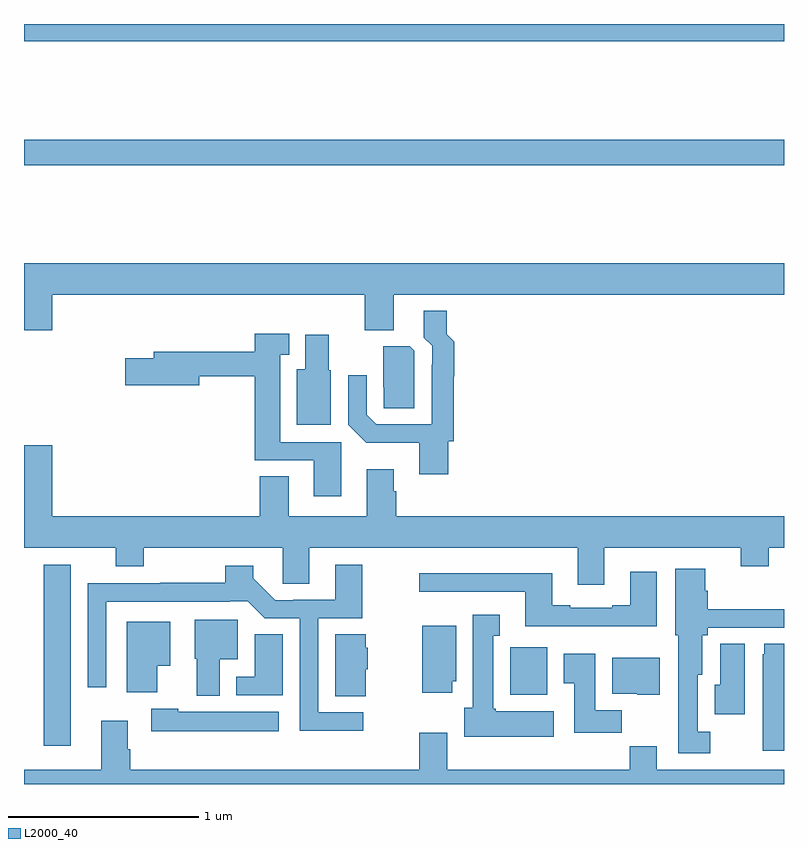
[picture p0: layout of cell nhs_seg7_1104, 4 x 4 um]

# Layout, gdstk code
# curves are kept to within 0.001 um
import gdstk
lib = gdstk.Library(unit=1e-6, precision=1e-09)
def R(c, l, rs):  # rectangles x0, y0, x1, y1
    for r in rs: c.add(gdstk.rectangle(r[:2], r[2:], *l))
def P(c, l, *ps):  # polygons
    for p in ps: c.add(gdstk.Polygon(p, *l))
L2000_40 = (2000, 40)

nhs_seg7_1104 = lib.new_cell('nhs_seg7_1104')
R(nhs_seg7_1104, L2000_40, [(189.104,1038.201,189.247,1039.153), (191.559,1038.47,191.755,1038.72), (189,1041.256,193,1041.392), (189,1041.908,193,1042)])
P(nhs_seg7_1104, L2000_40, [(189.148,1040.576),(190.793,1040.576),(190.793,1040.389),(190.945,1040.389),(190.945,1040.576),(193,1040.576),(193,1040.74),(189,1040.74),(189,1040.388),(189.148,1040.388)],
  [(191.234,1039.803),(191.261,1039.803),(191.261,1040.146),(191.264,1040.146),(191.264,1040.328),(191.225,1040.367),(191.225,1040.491),(191.105,1040.491),(191.105,1040.35),(191.148,1040.307),(191.148,1040.207),(191.145,1040.207),(191.145,1039.893),(190.854,1039.893),(190.803,1039.944),(190.803,1040.152),(190.707,1040.152),(190.707,1039.89),(190.801,1039.796),(191.081,1039.796),(191.081,1039.629),(191.234,1039.629)],
  [(190.669,1039.8),(190.348,1039.8),(190.348,1040.259),(190.396,1040.259),(190.396,1040.369),(190.214,1040.369),(190.214,1040.275),(189.683,1040.275),(189.683,1040.241),(189.534,1040.241),(189.534,1040.099),(189.922,1040.099),(189.922,1040.146),(190.214,1040.146),(190.214,1039.704),(190.526,1039.704),(190.526,1039.515),(190.669,1039.515)],
  [(190.615,1040.178),(190.603,1040.178),(190.603,1040.365),(190.481,1040.365),(190.481,1040.182),(190.436,1040.182),(190.436,1039.892),(190.615,1039.892)],
  [(191.055,1040.28),(191.031,1040.304),(190.892,1040.304),(190.892,1040.089),(190.893,1040.089),(190.893,1039.978),(191.055,1039.978)],
  [(192.055,1039.244),(192.773,1039.244),(192.773,1039.145),(192.921,1039.145),(192.921,1039.244),(193,1039.244),(193,1039.408),(190.958,1039.408),(190.958,1039.541),(190.945,1039.541),(190.945,1039.657),(190.805,1039.657),(190.805,1039.408),(190.393,1039.408),(190.393,1039.619),(190.241,1039.619),(190.241,1039.408),(189.148,1039.408),(189.148,1039.783),(189,1039.783),(189,1039.244),(189.482,1039.244),(189.482,1039.145),(189.63,1039.145),(189.63,1039.244),(190.362,1039.244),(190.362,1039.054),(190.501,1039.054),(190.501,1039.244),(191.915,1039.244),(191.915,1039.05),(192.055,1039.05)],
  [(190.786,1038.378),(190.548,1038.378),(190.548,1038.873),(190.78,1038.873),(190.78,1039.153),(190.637,1039.153),(190.637,1038.969),(190.417,1038.969),(190.417,1038.966),(190.323,1038.966),(190.207,1039.082),(190.207,1039.15),(190.06,1039.15),(190.06,1039.058),(189.718,1039.058),(189.718,1039.056),(189.336,1039.056),(189.336,1038.51),(189.432,1038.51),(189.433,1038.96),(190.082,1038.96),(190.082,1038.963),(190.178,1038.963),(190.268,1038.873),(190.452,1038.873),(190.452,1038.281),(190.786,1038.281)],
  [(192.613,1038.274),(192.547,1038.274),(192.547,1038.576),(192.571,1038.576),(192.571,1038.783),(192.598,1038.783),(192.598,1038.822),(193,1038.822),(193,1038.921),(192.599,1038.921),(192.599,1039.017),(192.586,1039.017),(192.586,1039.132),(192.428,1039.132),(192.428,1038.783),(192.443,1038.783),(192.443,1038.161),(192.613,1038.161)],
  [(192.331,1039.117),(192.191,1039.117),(192.191,1038.94),(192.095,1038.94),(192.095,1038.927),(191.875,1038.927),(191.875,1038.94),(191.779,1038.94),(191.779,1039.108),(191.079,1039.108),(191.079,1039.011),(191.639,1039.011),(191.639,1038.83),(192.331,1038.83)],
  [(191.788,1038.382),(191.484,1038.382),(191.484,1038.396),(191.47,1038.396),(191.47,1038.779),(191.503,1038.779),(191.503,1038.892),(191.363,1038.892),(191.363,1038.402),(191.318,1038.402),(191.318,1038.248),(191.788,1038.248)],
  [(190.03,1038.656),(190.126,1038.656),(190.126,1038.865),(189.899,1038.865),(189.899,1038.66),(189.908,1038.66),(189.908,1038.464),(190.03,1038.464)],
  [(189.7,1038.623),(189.769,1038.623),(189.769,1038.853),(189.542,1038.853),(189.542,1038.482),(189.7,1038.482)],
  [(191.254,1038.54),(191.275,1038.54),(191.275,1038.832),(191.096,1038.832),(191.096,1038.48),(191.254,1038.48)],
  [(190.798,1038.603),(190.81,1038.603),(190.81,1038.717),(190.798,1038.717),(190.798,1038.788),(190.637,1038.788),(190.637,1038.463),(190.798,1038.463)],
  [(190.363,1038.788),(190.214,1038.788),(190.214,1038.564),(190.116,1038.564),(190.116,1038.468),(190.363,1038.468)],
  [(193,1038.737),(192.896,1038.737),(192.896,1038.684),(192.887,1038.684),(192.887,1038.174),(193,1038.174)],
  [(192.793,1038.737),(192.665,1038.737),(192.665,1038.522),(192.635,1038.522),(192.635,1038.366),(192.793,1038.366)],
  [(192.146,1038.388),(192.007,1038.388),(192.007,1038.685),(191.84,1038.685),(191.84,1038.529),(191.897,1038.529),(191.897,1038.27),(192.146,1038.27)],
  [(192.346,1038.664),(192.095,1038.664),(192.095,1038.476),(192.228,1038.476),(192.228,1038.47),(192.346,1038.47)],
  [(190.342,1038.379),(189.813,1038.379),(189.813,1038.397),(189.669,1038.397),(189.669,1038.278),(190.342,1038.278)],
  [(193,1038.076),(192.331,1038.076),(192.331,1038.2),(192.187,1038.2),(192.187,1038.076),(191.227,1038.076),(191.227,1038.271),(191.08,1038.271),(191.08,1038.076),(189.56,1038.076),(189.56,1038.182),(189.547,1038.182),(189.547,1038.334),(189.407,1038.334),(189.407,1038.076),(189,1038.076),(189,1038),(193,1038)])

lib.write_gds('nhs_seg7_1104.gds')
